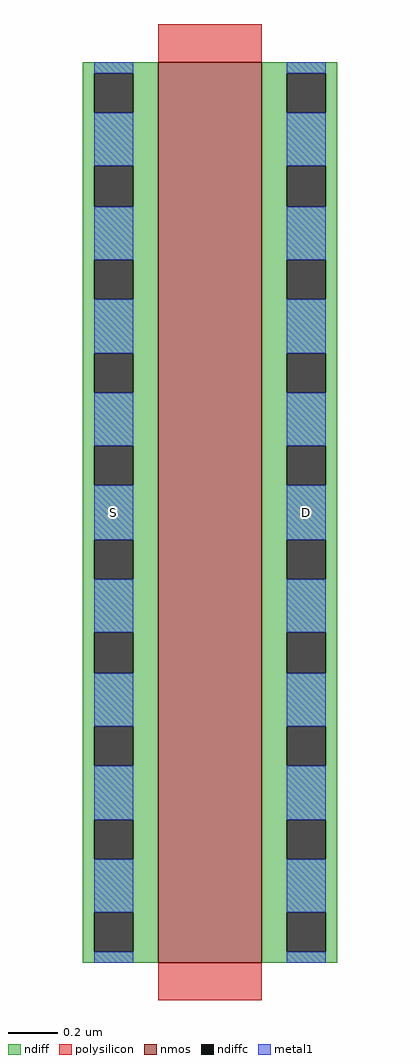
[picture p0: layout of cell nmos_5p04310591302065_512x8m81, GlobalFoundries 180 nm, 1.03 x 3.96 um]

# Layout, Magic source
magic
tech gf180mcuD
magscale 1 10
<< nmos >>
rect 0 0 84 730
<< ndiff >>
rect -61 721 0 730
rect -61 689 -52 721
rect -20 689 0 721
rect -61 646 0 689
rect -61 613 -52 646
rect -20 613 0 646
rect -61 570 0 613
rect -61 538 -52 570
rect -20 538 0 570
rect -61 494 0 538
rect -61 462 -52 494
rect -20 462 0 494
rect -61 419 0 462
rect -61 387 -52 419
rect -20 387 0 419
rect -61 343 0 387
rect -61 311 -52 343
rect -20 311 0 343
rect -61 268 0 311
rect -61 235 -52 268
rect -20 235 0 268
rect -61 192 0 235
rect -61 160 -52 192
rect -20 160 0 192
rect -61 116 0 160
rect -61 84 -52 116
rect -20 84 0 116
rect -61 41 0 84
rect -61 9 -52 41
rect -20 9 0 41
rect -61 0 0 9
rect 84 721 145 730
rect 84 689 104 721
rect 136 689 145 721
rect 84 646 145 689
rect 84 613 104 646
rect 136 613 145 646
rect 84 570 145 613
rect 84 538 104 570
rect 136 538 145 570
rect 84 494 145 538
rect 84 462 104 494
rect 136 462 145 494
rect 84 419 145 462
rect 84 387 104 419
rect 136 387 145 419
rect 84 343 145 387
rect 84 311 104 343
rect 136 311 145 343
rect 84 268 145 311
rect 84 235 104 268
rect 136 235 145 268
rect 84 192 145 235
rect 84 160 104 192
rect 136 160 145 192
rect 84 116 145 160
rect 84 84 104 116
rect 136 84 145 116
rect 84 41 145 84
rect 84 9 104 41
rect 136 9 145 41
rect 84 0 145 9
<< ndiffc >>
rect -52 689 -20 721
rect -52 613 -20 646
rect -52 538 -20 570
rect -52 462 -20 494
rect -52 387 -20 419
rect -52 311 -20 343
rect -52 235 -20 268
rect -52 160 -20 192
rect -52 84 -20 116
rect -52 9 -20 41
rect 104 689 136 721
rect 104 613 136 646
rect 104 538 136 570
rect 104 462 136 494
rect 104 387 136 419
rect 104 311 136 343
rect 104 235 136 268
rect 104 160 136 192
rect 104 84 136 116
rect 104 9 136 41
<< polysilicon >>
rect 0 730 84 761
rect 0 -30 84 0
<< metal1 >>
rect -52 721 -20 730
rect -52 646 -20 689
rect -52 570 -20 613
rect -52 494 -20 538
rect -52 419 -20 462
rect -52 343 -20 387
rect -52 268 -20 311
rect -52 192 -20 235
rect -52 116 -20 160
rect -52 41 -20 84
rect -52 0 -20 9
rect 104 721 136 730
rect 104 646 136 689
rect 104 570 136 613
rect 104 494 136 538
rect 104 419 136 462
rect 104 343 136 387
rect 104 268 136 311
rect 104 192 136 235
rect 104 116 136 160
rect 104 41 136 84
rect 104 0 136 9
<< labels >>
flabel metal1 -36 365 -36 365 0 FreeSans 140 0 0 0 S
flabel metal1 120 365 120 365 0 FreeSans 140 0 0 0 D
<< end >>
